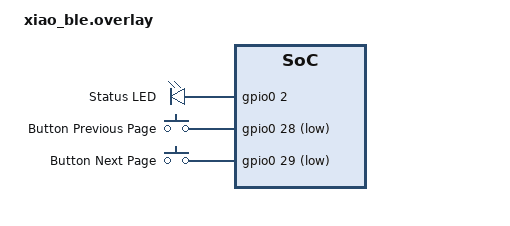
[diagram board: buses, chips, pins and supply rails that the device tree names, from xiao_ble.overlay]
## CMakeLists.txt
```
cmake_minimum_required(VERSION 3.20.0)

find_package(Zephyr REQUIRED HINTS $ENV{ZEPHYR_BASE})

project(trykkert)

FILE(GLOB app_sources src/*.c)
target_sources(app PRIVATE ${app_sources})

zephyr_library_include_directories(src)
```

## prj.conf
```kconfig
# Increased stack due to settings API usage
CONFIG_SYSTEM_WORKQUEUE_STACK_SIZE=2048

# Configure logger
CONFIG_LOG=n
CONFIG_LOG_BACKEND_UART=y
CONFIG_LOG_DEFAULT_LEVEL=3

CONFIG_ASSERT=y

CONFIG_GPIO=y

CONFIG_ADC=y

CONFIG_BT=y
CONFIG_BT_SMP=y
CONFIG_BT_SETTINGS=y
CONFIG_BT_PERIPHERAL=y
CONFIG_BT_DEVICE_NAME="trykkert"
CONFIG_BT_DEVICE_APPEARANCE=961
CONFIG_BT_DIS=y
# CONFIG_BT_BAS=y
CONFIG_BT_HIDS=y
CONFIG_BT_HIDS_DEFAULT_PERM_RW_ENCRYPT=y
CONFIG_BT_GATT_UUID16_POOL_SIZE=40
CONFIG_BT_GATT_CHRC_POOL_SIZE=20

CONFIG_BT_CONN_CTX=y
CONFIG_BT_MAX_CONN=2
CONFIG_BT_MAX_PAIRED=1

CONFIG_FLASH=y
CONFIG_FLASH_PAGE_LAYOUT=y
CONFIG_FLASH_MAP=y
CONFIG_NVS=y
CONFIG_SETTINGS=y
```

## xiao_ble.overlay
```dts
/ {
    aliases {
        led3 = &led3;
        sw0 = &button0;
        sw1 = &button1;
    };

    leds {
        led3: led_3 {
            label = "Status LED";
            gpios = <&gpio0 2 GPIO_ACTIVE_HIGH>;
        };
    };

    buttons {
        compatible = "gpio-keys";
        button0: button_0 {
            label = "Button Previous Page";
            gpios = <&gpio0 28 (GPIO_PULL_UP | GPIO_ACTIVE_LOW)>;
        };
        button1: button_1 {
            label = "Button Next Page";
            gpios = <&gpio0 29 (GPIO_PULL_UP | GPIO_ACTIVE_LOW)>;
        };
    };
};
```

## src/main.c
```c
#include <zephyr/kernel.h>
#include <zephyr/types.h>
#include <zephyr/bluetooth/bluetooth.h>
#include <zephyr/drivers/gpio.h>
#include <zephyr/settings/settings.h>

#include "battery.h"
#include "bas.h"
#include "hid.h"
#include "gpio.h"

#include <zephyr/logging/log.h>
#define LOG_MODULE_NAME app
LOG_MODULE_REGISTER(LOG_MODULE_NAME);


/* callbacks & services */
static struct k_work_delayable blink_work;
static struct k_work_delayable battery_update_work;

static float battery_voltage;
static int battery_percentage;
static int battery_charge_state;

static uint8_t btn_state = 0;

static void button_handler(uint8_t button_mask)
{
    int err;

    LOG_INF("Btn state: %x\n", button_mask);
    if (button_mask == btn_state) {
        return; // ignore if state is unchanged
    }
    btn_state = button_mask;

    if (button_mask & 0b100) {
        // long press detected
        bt_unpair(BT_ID_DEFAULT, BT_ADDR_LE_ANY);
        gpio_status_led_off();
        advertising_start();
    } else {
        if (is_advertising()) {
            return;
        }

        if (button_mask) {
            gpio_status_led_on();
        } else {
            gpio_status_led_off();
        }

        err = hid_key_changed(button_mask);
        if (err) {
            LOG_ERR("Unable to update keys (err: %d)\n", err);
        }
    }
}

static void connection_changed_handler(uint8_t state)
{
    if (state == 1) {
        gpio_status_led_off();
        k_work_cancel_delayable(&blink_work);
    } else {
        k_work_schedule(&blink_work, K_NO_WAIT);
    }
}

static void battery_update(struct k_work *work)
{
    int err;

    battery_get_voltage(&battery_voltage);
    battery_get_percentage(&battery_percentage, battery_voltage);
    bas_set_battery_level(battery_percentage);

    battery_get_charge_state(&battery_charge_state);
    bas_set_charge_status(battery_charge_state);

    // if (battery_charge_state == 0) {
    //     return; // break early if battery is not charging
    // }

    err = bas_notify();
    if (err) {
        LOG_ERR("bas_notify failed with rc = %d\n", err);
    }

    k_work_reschedule(&battery_update_work, K_SECONDS(10));
}

static void blink(struct k_work *work)
{
    if (is_advertising()) {
        gpio_status_led_toggle();
    } else {
        gpio_status_led_off();
    }
    k_work_schedule(&blink_work, K_MSEC(500));
}


/* main task */
int main(void)
{
    int err;

    k_sleep(K_MSEC(3000)); // boot cooldown

    LOG_INF("Starting Bluetooth Peripheral HIDS keyboard example\n");

    battery_init();

    err = gpio_init(button_handler);
    if (err) {
        LOG_ERR("Failed to initialize GPIO (err: %d)\n", err);
    }

    hid_init(connection_changed_handler);

    err = bt_enable(NULL);
    if (err) {
        LOG_ERR("Bluetooth init failed (err %d)\n", err);
        return 0;
    }

    LOG_INF("Bluetooth initialized\n");

    if (IS_ENABLED(CONFIG_SETTINGS)) {
        settings_load();
    }

    k_work_init_delayable(&battery_update_work, battery_update);
    k_work_schedule(&battery_update_work, K_NO_WAIT);

    k_work_init_delayable(&blink_work, blink);
    k_work_schedule(&blink_work, K_NO_WAIT);

    advertising_start();

    // idle loop
    for (;;) {
        k_sleep(K_FOREVER);
    }
}
```

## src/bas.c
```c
#include "bas.h"

#include <errno.h>
#include <zephyr/init.h>
#include <zephyr/sys/__assert.h>
#include <stdbool.h>
#include <zephyr/types.h>

#include <zephyr/bluetooth/bluetooth.h>
#include <zephyr/bluetooth/conn.h>
#include <zephyr/bluetooth/gatt.h>
#include <zephyr/bluetooth/uuid.h>

#define LOG_LEVEL CONFIG_BT_BAS_LOG_LEVEL
#include <zephyr/logging/log.h>
LOG_MODULE_REGISTER(bas);

static uint8_t battery_level = 100U;

static struct __packed battery_level_status {
    uint16_t power_state;
    uint8_t flags;
} battery_level_status;

static void blvl_ccc_cfg_changed(const struct bt_gatt_attr *attr, uint16_t value)
{
    ARG_UNUSED(attr);
    LOG_INF("BAS Notifications %s", (value == BT_GATT_CCC_NOTIFY) ? "enabled" : "disabled");
}

static ssize_t read_blvl(struct bt_conn *conn, const struct bt_gatt_attr *attr, void *buf, uint16_t len, uint16_t offset)
{
    uint8_t lvl8 = battery_level;
    return bt_gatt_attr_read(conn, attr, buf, len, offset, &lvl8, sizeof(lvl8));
}

static void blvl_status_ccc_cfg_changed(const struct bt_gatt_attr *attr, uint16_t value)
{
    ARG_UNUSED(attr);
    LOG_INF("BAS Notifications %s", (value == BT_GATT_CCC_NOTIFY) ? "enabled" : "disabled");
}

static ssize_t read_blvl_status(struct bt_conn *conn, const struct bt_gatt_attr *attr, void *buf, uint16_t len, uint16_t offset)
{
    struct __packed battery_level_status status = {
        .flags = battery_level_status.flags,
        .power_state = battery_level_status.power_state,
    };
    return bt_gatt_attr_read(conn, attr, buf, len, offset, &status, sizeof(status));
}

BT_GATT_SERVICE_DEFINE(bas_extended,
    BT_GATT_PRIMARY_SERVICE(
        BT_UUID_BAS
    ),

    BT_GATT_CHARACTERISTIC(
        BT_UUID_BAS_BATTERY_LEVEL,
        BT_GATT_CHRC_READ | BT_GATT_CHRC_NOTIFY,
        BT_GATT_PERM_READ,
        read_blvl, NULL, &battery_level
    ),
    BT_GATT_CCC(
        blvl_ccc_cfg_changed,
        BT_GATT_PERM_READ | BT_GATT_PERM_WRITE
    ),

    BT_GATT_CHARACTERISTIC(
        BT_UUID_BAS_BATTERY_LEVEL_STATUS,
        BT_GATT_CHRC_READ | BT_GATT_CHRC_NOTIFY,
        BT_GATT_PERM_READ_ENCRYPT,
        read_blvl_status, NULL, &battery_level_status
    ),
    BT_GATT_CCC(
        blvl_status_ccc_cfg_changed,
        BT_GATT_PERM_READ | BT_GATT_PERM_WRITE
    ),
);

static int bas_init(void)
{
    battery_level_status.flags = 0; // always 0
    battery_level_status.power_state = 0;
    battery_level_status.power_state |= (1U << 0); // battery assumed always present
    battery_level_status.power_state |= (2U << 1); // wired power source: unknown
    battery_level_status.power_state |= (0U << 3); // wireless power source: never
    battery_level_status.power_state |= (3U << 5); // battery charge state: inactive
    battery_level_status.power_state |= (0U << 7); // battery charge level: unknown
    return 0;
}

uint8_t bas_get_battery_level(void)
{
    return battery_level;
}

void bas_set_battery_level(uint8_t level)
{
    battery_level = level;
}

void bas_set_charge_status(int status)
{
    uint16_t power_state;

    power_state = 0;
    power_state |= (1U << 0); // battery assumed always present

    if ( status ) {
        power_state |= (1U << 1); // wired power source: connected
        power_state |= (1U << 5); // battery charge state: charging
        if (battery_level < 10) {
            power_state |= (3U << 7); // battery charge level: critical
        } else if (battery_level < 20) {
            power_state |= (2U << 7); // battery charge level: low
        } else {
            power_state |= (1U << 7); // battery charge level: good
        }
        power_state |= (1U << 9); // battery charge type: constant current
    } else {
        power_state |= (2U << 1); // wired power source: unknown
        power_state |= (2U << 5); // battery charge state: active discharge
        power_state |= (0U << 7); // battery charge level: not charging
        power_state |= (0U << 9); // battery charge type: not charging
    }

    battery_level_status.flags = 0;
    battery_level_status.power_state = power_state;
}

int bas_notify(void)
{
    int rc = 0;

    if (battery_level > 100U) {
        return -EINVAL;
    }

    // notify battery level
    rc |= bt_gatt_notify(
        NULL, bt_gatt_find_by_uuid(bas_extended.attrs, 0, BT_UUID_BAS_BATTERY_LEVEL),
        &battery_level, sizeof(battery_level)
    );

    // notify battery status (not working... not implemented on iOS???)
    rc |= bt_gatt_notify(
        NULL, bt_gatt_find_by_uuid(bas_extended.attrs, 0, BT_UUID_BAS_BATTERY_LEVEL_STATUS),
        &battery_level_status, sizeof(battery_level_status)
    );

    return rc == -ENOTCONN ? 0 : rc;
}

SYS_INIT(bas_init, APPLICATION, CONFIG_APPLICATION_INIT_PRIORITY);
```

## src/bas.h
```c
#pragma once

#include <stdint.h>

uint8_t bas_get_battery_level(void);
void bas_set_battery_level(uint8_t level);
void bas_set_charge_status(int status);
int bas_notify(void);
```

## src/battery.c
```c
#include "battery.h"

#include <zephyr/kernel.h>
#include <zephyr/device.h>
#include <zephyr/devicetree.h>
#include <zephyr/drivers/gpio.h>
#include <zephyr/drivers/adc.h>

#include <zephyr/logging/log.h>
#define LOG_MODULE_NAME battery
LOG_MODULE_REGISTER(LOG_MODULE_NAME);

static const struct device *gpio_battery_dev = DEVICE_DT_GET(DT_NODELABEL(gpio0));
static const struct device *adc_battery_dev = DEVICE_DT_GET(DT_NODELABEL(adc));

#define GPIO_BATTERY_CHARGE_SPEED 13
#define GPIO_BATTERY_CHARGING_ENABLE 17
#define GPIO_BATTERY_READ_ENABLE 14

#define ADC_TOTAL_SAMPLES 10
int16_t sample_buffer[ADC_TOTAL_SAMPLES];

#define ADC_RESOLUTION 12
#define ADC_CHANNEL 7
#define ADC_PORT SAADC_CH_PSELP_PSELP_AnalogInput7 // AIN7
#define ADC_REFERENCE ADC_REF_INTERNAL             // 0.6V
#define ADC_GAIN ADC_GAIN_1_6                      // ADC REFERENCE * 6 = 3.6V

struct adc_channel_cfg channel_7_cfg = {
    .gain = ADC_GAIN,
    .reference = ADC_REFERENCE,
    .acquisition_time = ADC_ACQ_TIME_DEFAULT,
    .channel_id = ADC_CHANNEL,
#ifdef CONFIG_ADC_NRFX_SAADC
    .input_positive = ADC_PORT
#endif
};

static struct adc_sequence_options options = {
    .extra_samplings = ADC_TOTAL_SAMPLES - 1,
    .interval_us = 500, // Interval between each sample
};

struct adc_sequence sequence = {
    .options = &options,
    .channels = BIT(ADC_CHANNEL),
    .buffer = sample_buffer,
    .buffer_size = sizeof(sample_buffer),
    .resolution = ADC_RESOLUTION};

typedef struct
{
    float voltage;
    int percentage;
} BatteryState;

#define BATTERY_STATES_COUNT 12
BatteryState battery_states[BATTERY_STATES_COUNT] = {
    {4.20, 100},
    {4.16, 99},
    {4.09, 91},
    {4.03, 78},
    {3.89, 63},
    {3.83, 53},
    {3.68, 36},
    {3.66, 35},
    {3.48, 14},
    {3.42, 11},
    {3.15, 1}, // .24
    {0.00, 0}  // Below safe level
};

static uint8_t is_initialized = false;

static int battery_enable_read()
{
    return gpio_pin_set(gpio_battery_dev, GPIO_BATTERY_READ_ENABLE, 1);
}

int battery_set_fast_charge()
{
    if (!is_initialized)
    {
        return -ECANCELED;
    }

    return gpio_pin_set(gpio_battery_dev, GPIO_BATTERY_CHARGE_SPEED, 1); // FAST charge 100mA
}

int battery_set_slow_charge()
{
    if (!is_initialized)
    {
        return -ECANCELED;
    }

    return gpio_pin_set(gpio_battery_dev, GPIO_BATTERY_CHARGE_SPEED, 0); // SLOW charge 50mA
}

int battery_get_voltage(float *battery_volt)
{

    int ret = 0;

    // Voltage divider circuit
    const int R1 = 1037; // Originally 1M ohm, calibrated after measuring actual voltage values. Can happen due to resistor tolerances, temperature ect..
    const int R2 = 510;  // 510K ohm

    // ADC measure
    int32_t adc_vref = adc_ref_internal(adc_battery_dev);
    int battery_millivolt = 0;
    int adc_mv = 0;

    ret |= adc_read(adc_battery_dev, &sequence);
    if (ret)
    {
        LOG_WRN("ADC read failed (error %d)", ret);
    }

    // Get average sample value.
    for (int sample = 0; sample < ADC_TOTAL_SAMPLES; sample++)
    {
        adc_mv += sample_buffer[sample]; // ADC value, not millivolt yet.
    }
    adc_mv /= ADC_TOTAL_SAMPLES;

    // Convert sample value to millivolts
    ret |= adc_raw_to_millivolts(adc_vref, ADC_GAIN, ADC_RESOLUTION, &adc_mv);

    // Calculate battery voltage.
    battery_millivolt = adc_mv * ((R1 + R2) / R2);
    *battery_volt = (float)battery_millivolt / 1000.0; // From millivolt to volt.

    LOG_INF("%d mV", battery_millivolt);
    return ret;
}

int battery_get_percentage(int *battery_percentage, float battery_voltage)
{
    // Ensure voltage is within bounds
    if (battery_voltage > battery_states[0].voltage)
        *battery_percentage = 100;
    if (battery_voltage < battery_states[BATTERY_STATES_COUNT - 1].voltage)
        *battery_percentage = 0;

    for (int i = 0; i < BATTERY_STATES_COUNT - 1; i++)
    {
        // Find the two points battery_voltage is between
        if (battery_states[i].voltage >= battery_voltage && battery_voltage >= battery_states[i + 1].voltage)
        {
            // Linear interpolation
            *battery_percentage = battery_states[i].percentage + (
                (battery_voltage - battery_states[i].voltage) * (
                    (battery_states[i + 1].percentage - battery_states[i].percentage) / (
                        battery_states[i + 1].voltage - battery_states[i].voltage
                    )
                )
            );

            LOG_INF("%d %%", *battery_percentage);
            return 0;
        }
    }
    return -ESPIPE;
}

int battery_get_charge_state(int *charge_state)
{
    *charge_state = gpio_pin_get(gpio_battery_dev, GPIO_BATTERY_CHARGING_ENABLE);
    return 0;
}

int battery_init()
{
    int ret = 0;

    // ADC
    if (!device_is_ready(adc_battery_dev))
    {
        LOG_ERR("ADC device not found!");
        return -EIO;
    }

    ret |= adc_channel_setup(adc_battery_dev, &channel_7_cfg);

    if (ret)
    {
        LOG_ERR("ADC setup failed (error %d)", ret);
    }

    // GPIO
    if (!device_is_ready(gpio_battery_dev))
    {
        LOG_ERR("GPIO device not found!");
        return -EIO;
    }

    ret |= gpio_pin_configure(gpio_battery_dev, GPIO_BATTERY_CHARGING_ENABLE, GPIO_INPUT | GPIO_ACTIVE_LOW);
    ret |= gpio_pin_configure(gpio_battery_dev, GPIO_BATTERY_READ_ENABLE, GPIO_OUTPUT | GPIO_ACTIVE_LOW);
    ret |= gpio_pin_configure(gpio_battery_dev, GPIO_BATTERY_CHARGE_SPEED, GPIO_OUTPUT | GPIO_ACTIVE_LOW);

    if (ret)
    {
        LOG_ERR("GPIO configure failed123!");
        return ret;
    }

    if (ret)
    {
        LOG_ERR("Initialization failed (error %d)", ret);
        return ret;
    }

    is_initialized = true;
    LOG_INF("Initialized");

    ret |= battery_enable_read();
    ret |= battery_set_fast_charge();

    return ret;
}
```

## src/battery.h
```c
#pragma once

/**
 * @brief Set battery charging to fast charge (100mA).
 *
 * @retval 0 if successful. Negative errno number on error.
 */
int battery_set_fast_charge(void);

/**
 * @brief Set battery charging to slow charge (50mA).
 *
 * @retval 0 if successful. Negative errno number on error.
 */
int battery_set_slow_charge(void);

/**
 * @brief Calculates the battery voltage using the ADC.
 *
 * @param[in] battery_volt Pointer where battery voltage is stored.
 *
 * @retval 0 if successful. Negative errno number on error.
 */
int battery_get_voltage(float *battery_volt);

/**
 * @brief Calculates the battery percentage using the battery voltage.
 *
 * @param[in] battery_percentage  Pointer where battery percentage is stored.
 *
 * @param[in] battery_volt Voltage used to calculate the percentage of how much energy is left in a 3.7V LiPo battery.
 *
 * @retval 0 if successful. Negative errno number on error.
 */
int battery_get_percentage(int *battery_percentage, float battery_volt);

/**
 * @brief Gets the current charging state
 *
 * @param[in] charge_state  Pointer where battery charge state is stored.
 *
 * @retval 0 if successful. Negative errno number on error.
 */
int battery_get_charge_state(int *charge_state);

/**
 * @brief Initialize the battery charging circuit.
 *
 * @retval 0 if successful. Negative errno number on error.
 */
int battery_init(void);
```

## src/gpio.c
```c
#include "gpio.h"

#include <zephyr/kernel.h>
#include <zephyr/drivers/gpio.h>

#include <zephyr/logging/log.h>
#define LOG_MODULE_NAME gpio
LOG_MODULE_REGISTER(LOG_MODULE_NAME);


// XIAO built-in RGB LED(s)
// #define LED0_NODE DT_ALIAS(led0)
// static const struct gpio_dt_spec led0 = GPIO_DT_SPEC_GET(LED0_NODE, gpios);

// #define LED1_NODE DT_ALIAS(led1)
// static const struct gpio_dt_spec led1 = GPIO_DT_SPEC_GET(LED1_NODE, gpios);

// #define LED2_NODE DT_ALIAS(led2)
// static const struct gpio_dt_spec led2 = GPIO_DT_SPEC_GET(LED2_NODE, gpios);

// external status LED
#define LED3_NODE DT_ALIAS(led3)
static const struct gpio_dt_spec led3 = GPIO_DT_SPEC_GET(LED3_NODE, gpios);

// buttons
#define SW0_NODE DT_ALIAS(sw0)
static const struct gpio_dt_spec sw0 = GPIO_DT_SPEC_GET(SW0_NODE, gpios);

#define SW1_NODE DT_ALIAS(sw1)
static const struct gpio_dt_spec sw1 = GPIO_DT_SPEC_GET(SW1_NODE, gpios);

static struct gpio_callback sw0_cb_data;
static struct gpio_callback sw1_cb_data;

static button_event_handler_t button_cb;

static struct k_work_delayable debounce_work;
static struct k_work_delayable longpress_work;


static void debounce_expired(struct k_work *work)
{
    ARG_UNUSED(work);

    uint8_t btn_mask = 0;
    
    if (gpio_pin_get_dt(&sw0)) {
        btn_mask |= 0b001;
    }
    if (gpio_pin_get_dt(&sw1)) {
        btn_mask |= 0b010;
    }

    if (btn_mask == 0b011) {
        k_work_reschedule(&longpress_work, K_MSEC(GPIO_SW_LONGPRESS_MS));
    }

    if (button_cb) {
        button_cb(btn_mask);
    }
}

static void longpress_expired(struct k_work *work)
{
    ARG_UNUSED(work);

    uint8_t btn_mask = 0;
    
    if (gpio_pin_get_dt(&sw0) && gpio_pin_get_dt(&sw1)) {
        btn_mask |= 0b111;

        if (button_cb) {
            button_cb(btn_mask);
        }
    }
}


void button_pressed(const struct device *dev, struct gpio_callback *cb, uint32_t pins)
{
    k_work_reschedule(&debounce_work, K_MSEC(GPIO_SW_DEBOUNCE_MS));
}


int gpio_init(button_event_handler_t handler)
{
    int err = -1;

    // init callback handler
    if (!handler) {
        return -EINVAL;
    }
    button_cb = handler;

    // check GPIO pins
    if (!device_is_ready(led3.port)) {
        return -EIO;
    }
    if (!device_is_ready(sw0.port)) {
        return -EIO;
    }
    if (!device_is_ready(sw1.port)) {
        return -EIO;
    }

    // init GPIO
    err = gpio_pin_configure_dt(&led3, GPIO_OUTPUT_INACTIVE);
    if (err) {
        return err;
    }
    err = gpio_pin_configure_dt(&sw0, GPIO_INPUT);
    if (err) {
        return err;
    }
    err = gpio_pin_configure_dt(&sw1, GPIO_INPUT);
    if (err) {
        return err;
    }

    // define work items
    k_work_init_delayable(&debounce_work, debounce_expired);
    k_work_init_delayable(&longpress_work, longpress_expired);

    // init interrupts
    err = gpio_pin_interrupt_configure_dt(&sw0, GPIO_INT_EDGE_BOTH);
    if (err) {
        return err;
    }
    err = gpio_pin_interrupt_configure_dt(&sw1, GPIO_INT_EDGE_BOTH);
    if (err) {
        return err;
    }

    gpio_init_callback(&sw0_cb_data, button_pressed, BIT(sw0.pin));
    gpio_init_callback(&sw1_cb_data, button_pressed, BIT(sw1.pin));

    err = gpio_add_callback(sw0.port, &sw0_cb_data);
    if (err) {
        return err;
    }
    err = gpio_add_callback(sw1.port, &sw1_cb_data);
    if (err) {
        return err;
    }

    // done
    LOG_INF("Initialized GPIO\n");
    return 0;
}


int gpio_status_led_on(void)
{
    return gpio_pin_set_dt(&led3, 1);
}


int gpio_status_led_off(void)
{
    return gpio_pin_set_dt(&led3, 0);
}


int gpio_status_led_toggle(void)
{
    return gpio_pin_toggle_dt(&led3);
}
```

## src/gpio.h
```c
#pragma once

#include <zephyr/types.h>

#define GPIO_SW_DEBOUNCE_MS 30
#define GPIO_SW_LONGPRESS_MS 5000

typedef void (*button_event_handler_t)(uint8_t button_mask);

int gpio_init(button_event_handler_t handler);
int gpio_status_led_on(void);
int gpio_status_led_off(void);
int gpio_status_led_toggle(void);
```

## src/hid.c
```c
#include "hid.h"

#include <zephyr/kernel.h>
#include <zephyr/spinlock.h>
#include <zephyr/sys/byteorder.h>
#include <zephyr/bluetooth/bluetooth.h>
#include <zephyr/bluetooth/hci.h>
#include <zephyr/bluetooth/conn.h>
#include <zephyr/bluetooth/uuid.h>
#include <zephyr/bluetooth/gatt.h>
#include <zephyr/bluetooth/services/dis.h>
#include <bluetooth/services/hids.h>

#include <soc.h>
#include <stddef.h>
#include <string.h>
#include <errno.h>

#include <zephyr/logging/log.h>
#define LOG_MODULE_NAME hid
LOG_MODULE_REGISTER(LOG_MODULE_NAME);


/* HIDS instance. */
BT_HIDS_DEF(
    hids_obj,
    OUTPUT_REPORT_MAX_LEN,
    INPUT_REPORT_KEYS_MAX_LEN
);

static volatile bool is_adv;

static hid_connection_changed_t connection_changed_cb;

static const struct bt_data ad[] = {
    BT_DATA_BYTES(
        BT_DATA_GAP_APPEARANCE,
        (CONFIG_BT_DEVICE_APPEARANCE >> 0) & 0xff,
        (CONFIG_BT_DEVICE_APPEARANCE >> 8) & 0xff
    ),
    BT_DATA_BYTES(
        BT_DATA_FLAGS,
        (BT_LE_AD_GENERAL | BT_LE_AD_NO_BREDR)
    ),
    BT_DATA_BYTES(
        BT_DATA_UUID16_ALL,
        BT_UUID_16_ENCODE(BT_UUID_HIDS_VAL),
        BT_UUID_16_ENCODE(BT_UUID_BAS_VAL)
    ),
};

static const struct bt_data sd[] = {
    BT_DATA(BT_DATA_NAME_COMPLETE, DEVICE_NAME, DEVICE_NAME_LEN),
};

static struct conn_mode {
    struct bt_conn *conn;
    bool in_boot_mode;
} conn_mode;

static struct keyboard_state {
    uint8_t ctrl_keys_state;
    uint8_t keys_state[KEY_PRESS_MAX];
    uint8_t charging;
} hid_keyboard_state;


void advertising_start(void)
{
    int err;
    struct bt_le_adv_param *adv_param = BT_LE_ADV_PARAM(
        (BT_LE_ADV_OPT_CONNECTABLE | BT_LE_ADV_OPT_ONE_TIME),
        BT_GAP_ADV_FAST_INT_MIN_2,
        BT_GAP_ADV_FAST_INT_MAX_2,
        NULL
    );

    err = bt_le_adv_start(adv_param, ad, ARRAY_SIZE(ad), sd, ARRAY_SIZE(sd));
    if (err) {
        if (err == -EALREADY) {
            LOG_WRN("Advertising continued\n");
        } else {
            LOG_ERR("Advertising failed to start (err %d)\n", err);
        }
        return;
    }
    is_adv = true;
    LOG_INF("Advertising successfully started\n");
}


bool is_advertising(void)
{
    return is_adv;
}


static void connected(struct bt_conn *conn, uint8_t err)
{
    char addr[BT_ADDR_LE_STR_LEN];
    bt_addr_le_to_str(bt_conn_get_dst(conn), addr, sizeof(addr));

    if (err) {
        LOG_ERR("Failed to connect to %s (%u)\n", addr, err);
        if (connection_changed_cb) {
            connection_changed_cb(0);
        }
        return;
    }

    LOG_INF("Connected %s\n", addr);

    err = bt_hids_connected(&hids_obj, conn);

    if (err) {
        LOG_ERR("Failed to notify HID service about connection\n");
        if (connection_changed_cb) {
            connection_changed_cb(0);
        }
        return;
    }

    if (!conn_mode.conn) {
        conn_mode.conn = conn;
        conn_mode.in_boot_mode = false;
    }

    is_adv = false;
    if (connection_changed_cb) {
        connection_changed_cb(1);
    }
}


static void disconnected(struct bt_conn *conn, uint8_t reason)
{
    int err;

    char addr[BT_ADDR_LE_STR_LEN];
    bt_addr_le_to_str(bt_conn_get_dst(conn), addr, sizeof(addr));

    LOG_INF("Disconnected from %s (reason %u)\n", addr, reason);

    err = bt_hids_disconnected(&hids_obj, conn);
    if (err) {
        LOG_ERR("Failed to notify HID service about disconnection\n");
        if (connection_changed_cb) {
            connection_changed_cb(0);
        }
    }

    if (conn_mode.conn) {
        conn_mode.conn = NULL;
    }

    advertising_start();
    if (connection_changed_cb) {
        connection_changed_cb(0);
    }
}


static void security_changed(struct bt_conn *conn, bt_security_t level, enum bt_security_err err)
{
    char addr[BT_ADDR_LE_STR_LEN];
    bt_addr_le_to_str(bt_conn_get_dst(conn), addr, sizeof(addr));

    if (!err) {
        LOG_INF("Security changed: %s level %u\n", addr, level);
    } else {
        LOG_ERR("Security failed: %s level %u err %d\n", addr, level, err);
    }
}


BT_CONN_CB_DEFINE(conn_callbacks) = {
    .connected = connected,
    .disconnected = disconnected,
    .security_changed = security_changed,
};


static void hids_outp_rep_handler(struct bt_hids_rep *rep, struct bt_conn *conn, bool write)
{
    char addr[BT_ADDR_LE_STR_LEN];
    bt_addr_le_to_str(bt_conn_get_dst(conn), addr, sizeof(addr));

    if (!write) {
        LOG_INF("Output report read\n");
        return;
    };

    LOG_INF("Output report has been received %s\n", addr);
}


static void hids_boot_kb_outp_rep_handler(struct bt_hids_rep *rep, struct bt_conn *conn, bool write)
{
    char addr[BT_ADDR_LE_STR_LEN];
    bt_addr_le_to_str(bt_conn_get_dst(conn), addr, sizeof(addr));

    if (!write) {
        LOG_INF("Output report read\n");
        return;
    };

    LOG_INF("Boot Keyboard Output report has been received %s\n", addr);
}


static void hids_pm_evt_handler(enum bt_hids_pm_evt evt, struct bt_conn *conn)
{
    char addr[BT_ADDR_LE_STR_LEN];
    bt_addr_le_to_str(bt_conn_get_dst(conn), addr, sizeof(addr));

    switch (evt) {
    case BT_HIDS_PM_EVT_BOOT_MODE_ENTERED:
        LOG_INF("Boot mode entered %s\n", addr);
        conn_mode.in_boot_mode = true;
        break;

    case BT_HIDS_PM_EVT_REPORT_MODE_ENTERED:
        LOG_INF("Report mode entered %s\n", addr);
        conn_mode.in_boot_mode = false;
        break;

    default:
        break;
    }
}


void hid_init(hid_connection_changed_t cb)
{
    int err;

    connection_changed_cb = cb;

    struct bt_hids_init_param    hids_init_obj = { 0 };
    struct bt_hids_inp_rep       *hids_inp_rep;
    struct bt_hids_outp_feat_rep *hids_outp_rep;

    static const uint8_t report_map[] = {
        0x05, 0x01,       /* Usage Page (Generic Desktop) */
        0x09, 0x06,       /* Usage (Keyboard) */
        0xa1, 0x01,       /* Collection (Application) */

        /* Keys */
#if INPUT_REP_KEYS_REF_ID
        0x85, INPUT_REP_KEYS_REF_ID,
#endif
        0x05, 0x07,       /* Usage Page (Key Codes) */
        0x19, 0xe0,       /* Usage Minimum (224) */
        0x29, 0xe7,       /* Usage Maximum (231) */
        0x15, 0x00,       /* Logical Minimum (0) */
        0x25, 0x01,       /* Logical Maximum (1) */
        0x75, 0x01,       /* Report Size (1) */
        0x95, 0x08,       /* Report Count (8) */
        0x81, 0x02,       /* Input (Data, Variable, Absolute) */

        0x95, 0x01,       /* Report Count (1) */
        0x75, 0x08,       /* Report Size (8) */
        0x81, 0x01,       /* Input (Constant) reserved byte(1) */

        0x95, 0x06,       /* Report Count (6) */
        0x75, 0x08,       /* Report Size (8) */
        0x15, 0x00,       /* Logical Minimum (0) */
        0x25, 0x65,       /* Logical Maximum (101) */
        0x05, 0x07,       /* Usage Page (Key codes) */
        0x19, 0x00,       /* Usage Minimum (0) */
        0x29, 0x65,       /* Usage Maximum (101) */
        0x81, 0x00,       /* Input (Data, Array) Key array(6 bytes) */

        /* LED */
#if OUTPUT_REP_KEYS_REF_ID
        0x85, OUTPUT_REP_KEYS_REF_ID,
#endif
        0x95, 0x05,       /* Report Count (5) */
        0x75, 0x01,       /* Report Size (1) */
        0x05, 0x08,       /* Usage Page (Page# for LEDs) */
        0x19, 0x01,       /* Usage Minimum (1) */
        0x29, 0x05,       /* Usage Maximum (5) */
        0x91, 0x02,       /* Output (Data, Variable, Absolute), */
        0x95, 0x01,       /* Report Count (1) */
        0x75, 0x03,       /* Report Size (3) */
        0x91, 0x01,       /* Output (Data, Variable, Absolute), */

        0xC0              /* End Collection (Application) */
    };

    // // ! test
    // 0x05, 0x85,       /* Usage Page (Battery System) */
    // 0x09, 0x44,       /* Usage (Charging) */
    // 0x95, 0x01,       /* Report Count (1) */
    // 0x75, 0x07,       /* Report Size (7) */
    // 0x81, 0x01,       /* Feature (Cnst,Var,Abs) - padding */
    // 0x19, 0x00,       /* Usage Minimum (0) */
    // 0x29, 0x01,       /* Usage Maximum (1) */
    // 0x15, 0x00,       /* Logical Minimum (0) */
    // 0x25, 0x01,       /* Logical Maximum (1) */
    // 0x95, 0x01,       /* Report Count (1) */
    // 0x75, 0x01,       /* Report Size (1) */
    // 0x81, 0x02,       /* Input (Data, Variable, Absolute) */

    hids_init_obj.rep_map.data = report_map;
    hids_init_obj.rep_map.size = sizeof(report_map);

    hids_init_obj.info.bcd_hid = BASE_USB_HID_SPEC_VERSION;
    hids_init_obj.info.b_country_code = 0x00;
    hids_init_obj.info.flags = (BT_HIDS_REMOTE_WAKE | BT_HIDS_NORMALLY_CONNECTABLE);

    hids_inp_rep = &hids_init_obj.inp_rep_group_init.reports[INPUT_REP_KEYS_IDX];
    hids_inp_rep->size = INPUT_REPORT_KEYS_MAX_LEN;
    hids_inp_rep->id = INPUT_REP_KEYS_REF_ID;
    hids_init_obj.inp_rep_group_init.cnt++;

    hids_outp_rep = &hids_init_obj.outp_rep_group_init.reports[OUTPUT_REP_KEYS_IDX];
    hids_outp_rep->size = OUTPUT_REPORT_MAX_LEN;
    hids_outp_rep->id = OUTPUT_REP_KEYS_REF_ID;
    hids_outp_rep->handler = hids_outp_rep_handler;
    hids_init_obj.outp_rep_group_init.cnt++;

    hids_init_obj.is_kb = true;
    hids_init_obj.boot_kb_outp_rep_handler = hids_boot_kb_outp_rep_handler;
    hids_init_obj.pm_evt_handler = hids_pm_evt_handler;

    err = bt_hids_init(&hids_obj, &hids_init_obj);
    __ASSERT(err == 0, "HIDS initialization failed\n");
}


static int key_report_con_send(const struct keyboard_state *state, bool boot_mode, struct bt_conn *conn)
{
    int err = 0;
    uint8_t  data[INPUT_REPORT_KEYS_MAX_LEN];
    uint8_t *key_data;
    const uint8_t *key_state;
    size_t n;

    data[0] = state->ctrl_keys_state;
    data[1] = 0;
    key_data = &data[2];
    key_state = state->keys_state;

    for (n = 0; n < KEY_PRESS_MAX; ++n) {
        *key_data++ = *key_state++;
    }
    if (boot_mode) {
        err = bt_hids_boot_kb_inp_rep_send(&hids_obj, conn, data, sizeof(data), NULL);
    } else {
        err = bt_hids_inp_rep_send(&hids_obj, conn, INPUT_REP_KEYS_IDX, data, sizeof(data), NULL);
    }

    return err;
}


static int key_report_send(void)
{
    if (conn_mode.conn) {
        int err;

        err = key_report_con_send(&hid_keyboard_state, conn_mode.in_boot_mode, conn_mode.conn);
        if (err) {
            LOG_ERR("Key report send error: %d\n", err);
            return err;
        }
    }
    return 0;
}


static uint8_t button_ctrl_code(uint8_t key)
{
    if (KEY_CTRL_CODE_MIN <= key && key <= KEY_CTRL_CODE_MAX) {
        return (uint8_t)(1U << (key - KEY_CTRL_CODE_MIN));
    }
    return 0;
}


static int hid_kbd_state_key_set(uint8_t key)
{
    uint8_t ctrl_mask = button_ctrl_code(key);

    if (ctrl_mask) {
        hid_keyboard_state.ctrl_keys_state |= ctrl_mask;
        return 0;
    }
    for (size_t i = 0; i < KEY_PRESS_MAX; ++i) {
        if (hid_keyboard_state.keys_state[i] == 0) {
            hid_keyboard_state.keys_state[i] = key;
            return 0;
        }
    }
    /* All slots busy */
    return -EBUSY;
}


static int hid_kbd_state_key_clear(uint8_t key)
{
    uint8_t ctrl_mask = button_ctrl_code(key);

    if (ctrl_mask) {
        hid_keyboard_state.ctrl_keys_state &= ~ctrl_mask;
        return 0;
    }
    for (size_t i = 0; i < KEY_PRESS_MAX; ++i) {
        if (hid_keyboard_state.keys_state[i] == key) {
            hid_keyboard_state.keys_state[i] = 0;
            return 0;
        }
    }
    /* Key not found */
    return -EINVAL;
}


int hid_key_changed(uint8_t button_mask)
{
    if (button_mask & (uint8_t)(1U << 0)) {
        hid_kbd_state_key_set(KEY_CODE_SW0);
    } else {
        hid_kbd_state_key_clear(KEY_CODE_SW0);
    }

    if (button_mask & (uint8_t)(1U << 1)) {
        hid_kbd_state_key_set(KEY_CODE_SW1);
    } else {
        hid_kbd_state_key_clear(KEY_CODE_SW1);
    }

    return key_report_send();
}


int hid_charging_changed(uint8_t charging)
{
    if (charging) {
        hid_keyboard_state.charging = 0xff;
    } else {
        hid_keyboard_state.charging = 0;
    }

    return key_report_send();
}
```

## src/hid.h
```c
#pragma once

#include <zephyr/types.h>

#include <assert.h>


#define DEVICE_NAME     CONFIG_BT_DEVICE_NAME
#define DEVICE_NAME_LEN (sizeof(DEVICE_NAME) - 1)

#define BASE_USB_HID_SPEC_VERSION 0x0101

#define OUTPUT_REPORT_MAX_LEN  1
#define INPUT_REP_KEYS_REF_ID  0
#define OUTPUT_REP_KEYS_REF_ID 0
#define MODIFIER_KEY_POS       0
#define SCAN_CODE_POS          2
#define KEYS_MAX_LEN           (INPUT_REPORT_KEYS_MAX_LEN - SCAN_CODE_POS)

/* ********************* */
/* Buttons configuration */
/* Note: The configuration below is the same as BOOT mode configuration
 * This simplifies the code as the BOOT mode is the same as REPORT mode.
 * Changing this configuration would require separate implementation of
 * BOOT mode report generation.
 */
#define KEY_CTRL_CODE_MIN 224 // Control key codes - required 8 of them
#define KEY_CTRL_CODE_MAX 231 // Control key codes - required 8 of them
#define KEY_CODE_MIN      0   // Normal key codes
#define KEY_CODE_MAX      101 // Normal key codes
#define KEY_PRESS_MAX     6   // Maximum number of non-control keys pressed simultaneously

#define KEY_A        0x04 // Keyboard a and A
#define KEY_B        0x05 // Keyboard b and B
#define KEY_PAGEUP   0x4b // Keyboard Page Up
#define KEY_PAGEDOWN 0x4e // Keyboard Page Down
#define KEY_RIGHT    0x4f // Keyboard Right Arrow
#define KEY_LEFT     0x50 // Keyboard Left Arrow
#define KEY_DOWN     0x51 // Keyboard Down Arrow
#define KEY_UP       0x52 // Keyboard Up Arrow

#define KEY_CODE_SW0 KEY_LEFT
#define KEY_CODE_SW1 KEY_RIGHT

/* Number of bytes in key report
 *
 * 1B - control keys
 * 1B - reserved
 * rest - non-control keys
 */
#define INPUT_REPORT_KEYS_MAX_LEN (1 + 1 + KEY_PRESS_MAX)

/* Current report map construction requires exactly 8 buttons */
BUILD_ASSERT((KEY_CTRL_CODE_MAX - KEY_CTRL_CODE_MIN) + 1 == 8);

/* OUT report internal indexes.
 *
 * This is a position in internal report table and is not related to
 * report ID.
 */
enum {
    OUTPUT_REP_KEYS_IDX = 0
};

/* INPUT report internal indexes.
 *
 * This is a position in internal report table and is not related to
 * report ID.
 */
enum {
    INPUT_REP_KEYS_IDX = 0
};

typedef void (*hid_connection_changed_t)(uint8_t state);

void hid_init(hid_connection_changed_t cb);
int hid_key_changed(uint8_t button_mask);
int hid_charging_changed(uint8_t charging);

void advertising_start(void);
bool is_advertising();
```

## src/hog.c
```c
#include "hog.h"

#include <zephyr/kernel.h>
#include <zephyr/spinlock.h>
#include <zephyr/sys/byteorder.h>
#include <zephyr/bluetooth/bluetooth.h>
#include <zephyr/bluetooth/hci.h>
#include <zephyr/bluetooth/conn.h>
#include <zephyr/bluetooth/uuid.h>
#include <zephyr/bluetooth/gatt.h>
#include <zephyr/bluetooth/services/bas.h>
#include <zephyr/bluetooth/services/dis.h>
#include <bluetooth/services/hids.h>

#include <soc.h>
#include <stddef.h>
#include <string.h>
#include <errno.h>

#include <zephyr/logging/log.h>
#define LOG_MODULE_NAME hog
LOG_MODULE_REGISTER(LOG_MODULE_NAME);


/* HIDS instance. */
BT_HIDS_DEF(
    hids_obj,
    OUTPUT_REPORT_MAX_LEN,
    INPUT_REPORT_KEYS_MAX_LEN
);

static volatile bool is_adv;

static hid_connection_changed_t connection_changed_cb;

static const struct bt_data ad[] = {
    BT_DATA_BYTES(
        BT_DATA_GAP_APPEARANCE,
        (CONFIG_BT_DEVICE_APPEARANCE >> 0) & 0xff,
        (CONFIG_BT_DEVICE_APPEARANCE >> 8) & 0xff
    ),
    BT_DATA_BYTES(
        BT_DATA_FLAGS,
        (BT_LE_AD_GENERAL | BT_LE_AD_NO_BREDR)
    ),
    BT_DATA_BYTES(
        BT_DATA_UUID16_ALL,
        BT_UUID_16_ENCODE(BT_UUID_HIDS_VAL),
        BT_UUID_16_ENCODE(BT_UUID_BAS_VAL)
    ),
};

static const struct bt_data sd[] = {
    BT_DATA(BT_DATA_NAME_COMPLETE, DEVICE_NAME, DEVICE_NAME_LEN),
};

static struct conn_mode {
    struct bt_conn *conn;
    bool in_boot_mode;
} conn_mode;

static struct keyboard_state {
    uint8_t ctrl_keys_state;
    uint8_t keys_state[KEY_PRESS_MAX];
} hid_keyboard_state;


void advertising_start(void)
{
    int err;
    struct bt_le_adv_param *adv_param = BT_LE_ADV_PARAM(
        (BT_LE_ADV_OPT_CONNECTABLE | BT_LE_ADV_OPT_ONE_TIME),
        BT_GAP_ADV_FAST_INT_MIN_2,
        BT_GAP_ADV_FAST_INT_MAX_2,
        NULL
    );

    err = bt_le_adv_start(adv_param, ad, ARRAY_SIZE(ad), sd, ARRAY_SIZE(sd));
    if (err) {
        if (err == -EALREADY) {
            LOG_WRN("Advertising continued\n");
        } else {
            LOG_ERR("Advertising failed to start (err %d)\n", err);
        }
        return;
    }
    is_adv = true;
    LOG_INF("Advertising successfully started\n");
}


bool is_advertising(void)
{
    return is_adv;
}


static void connected(struct bt_conn *conn, uint8_t err)
{
    char addr[BT_ADDR_LE_STR_LEN];
    bt_addr_le_to_str(bt_conn_get_dst(conn), addr, sizeof(addr));

    if (err) {
        LOG_ERR("Failed to connect to %s (%u)\n", addr, err);
        if (connection_changed_cb) {
            connection_changed_cb(0);
        }
        return;
    }

    LOG_INF("Connected %s\n", addr);

    err = bt_hids_connected(&hids_obj, conn);

    if (err) {
        LOG_ERR("Failed to notify HID service about connection\n");
        if (connection_changed_cb) {
            connection_changed_cb(0);
        }
        return;
    }

    if (!conn_mode.conn) {
        conn_mode.conn = conn;
        conn_mode.in_boot_mode = false;
    }

    is_adv = false;
    if (connection_changed_cb) {
        connection_changed_cb(1);
    }
}


static void disconnected(struct bt_conn *conn, uint8_t reason)
{
    int err;

    char addr[BT_ADDR_LE_STR_LEN];
    bt_addr_le_to_str(bt_conn_get_dst(conn), addr, sizeof(addr));

    LOG_INF("Disconnected from %s (reason %u)\n", addr, reason);

    err = bt_hids_disconnected(&hids_obj, conn);
    if (err) {
        LOG_ERR("Failed to notify HID service about disconnection\n");
        if (connection_changed_cb) {
            connection_changed_cb(0);
        }
    }

    if (conn_mode.conn) {
        conn_mode.conn = NULL;
    }

    advertising_start();
    if (connection_changed_cb) {
        connection_changed_cb(0);
    }
}


static void security_changed(struct bt_conn *conn, bt_security_t level, enum bt_security_err err)
{
    char addr[BT_ADDR_LE_STR_LEN];
    bt_addr_le_to_str(bt_conn_get_dst(conn), addr, sizeof(addr));

    if (!err) {
        LOG_INF("Security changed: %s level %u\n", addr, level);
    } else {
        LOG_ERR("Security failed: %s level %u err %d\n", addr, level, err);
    }
}


BT_CONN_CB_DEFINE(conn_callbacks) = {
    .connected = connected,
    .disconnected = disconnected,
    .security_changed = security_changed,
};


static void hids_outp_rep_handler(struct bt_hids_rep *rep, struct bt_conn *conn, bool write)
{
    char addr[BT_ADDR_LE_STR_LEN];
    bt_addr_le_to_str(bt_conn_get_dst(conn), addr, sizeof(addr));

    if (!write) {
        LOG_INF("Output report read\n");
        return;
    };

    LOG_INF("Output report has been received %s\n", addr);
}


static void hids_boot_kb_outp_rep_handler(struct bt_hids_rep *rep, struct bt_conn *conn, bool write)
{
    char addr[BT_ADDR_LE_STR_LEN];
    bt_addr_le_to_str(bt_conn_get_dst(conn), addr, sizeof(addr));

    if (!write) {
        LOG_INF("Output report read\n");
        return;
    };

    LOG_INF("Boot Keyboard Output report has been received %s\n", addr);
}


static void hids_pm_evt_handler(enum bt_hids_pm_evt evt, struct bt_conn *conn)
{
    char addr[BT_ADDR_LE_STR_LEN];
    bt_addr_le_to_str(bt_conn_get_dst(conn), addr, sizeof(addr));

    switch (evt) {
    case BT_HIDS_PM_EVT_BOOT_MODE_ENTERED:
        LOG_INF("Boot mode entered %s\n", addr);
        conn_mode.in_boot_mode = true;
        break;

    case BT_HIDS_PM_EVT_REPORT_MODE_ENTERED:
        LOG_INF("Report mode entered %s\n", addr);
        conn_mode.in_boot_mode = false;
        break;

    default:
        break;
    }
}


void hid_init(hid_connection_changed_t cb)
{
    int err;

    connection_changed_cb = cb;

    struct bt_hids_init_param    hids_init_obj = { 0 };
    struct bt_hids_inp_rep       *hids_inp_rep;
    struct bt_hids_outp_feat_rep *hids_outp_rep;

    static const uint8_t report_map[] = {
        0x05, 0x01,       /* Usage Page (Generic Desktop) */
        0x09, 0x06,       /* Usage (Keyboard) */
        0xa1, 0x01,       /* Collection (Application) */

        /* Keys */
#if INPUT_REP_KEYS_REF_ID
        0x85, INPUT_REP_KEYS_REF_ID,
#endif
        0x05, 0x07,       /* Usage Page (Key Codes) */
        0x19, 0xe0,       /* Usage Minimum (224) */
        0x29, 0xe7,       /* Usage Maximum (231) */
        0x15, 0x00,       /* Logical Minimum (0) */
        0x25, 0x01,       /* Logical Maximum (1) */
        0x75, 0x01,       /* Report Size (1) */
        0x95, 0x08,       /* Report Count (8) */
        0x81, 0x02,       /* Input (Data, Variable, Absolute) */

        0x95, 0x01,       /* Report Count (1) */
        0x75, 0x08,       /* Report Size (8) */
        0x81, 0x01,       /* Input (Constant) reserved byte(1) */

        0x95, 0x06,       /* Report Count (6) */
        0x75, 0x08,       /* Report Size (8) */
        0x15, 0x00,       /* Logical Minimum (0) */
        0x25, 0x65,       /* Logical Maximum (101) */
        0x05, 0x07,       /* Usage Page (Key codes) */
        0x19, 0x00,       /* Usage Minimum (0) */
        0x29, 0x65,       /* Usage Maximum (101) */
        0x81, 0x00,       /* Input (Data, Array) Key array(6 bytes) */

        /* LED */
#if OUTPUT_REP_KEYS_REF_ID
        0x85, OUTPUT_REP_KEYS_REF_ID,
#endif
        0x95, 0x05,       /* Report Count (5) */
        0x75, 0x01,       /* Report Size (1) */
        0x05, 0x08,       /* Usage Page (Page# for LEDs) */
        0x19, 0x01,       /* Usage Minimum (1) */
        0x29, 0x05,       /* Usage Maximum (5) */
        0x91, 0x02,       /* Output (Data, Variable, Absolute), */
        0x95, 0x01,       /* Report Count (1) */
        0x75, 0x03,       /* Report Size (3) */
        0x91, 0x01,       /* Output (Data, Variable, Absolute), */

        0xC0              /* End Collection (Application) */
    };

    hids_init_obj.rep_map.data = report_map;
    hids_init_obj.rep_map.size = sizeof(report_map);

    hids_init_obj.info.bcd_hid = BASE_USB_HID_SPEC_VERSION;
    hids_init_obj.info.b_country_code = 0x00;
    hids_init_obj.info.flags = (BT_HIDS_REMOTE_WAKE | BT_HIDS_NORMALLY_CONNECTABLE);

    hids_inp_rep = &hids_init_obj.inp_rep_group_init.reports[INPUT_REP_KEYS_IDX];
    hids_inp_rep->size = INPUT_REPORT_KEYS_MAX_LEN;
    hids_inp_rep->id = INPUT_REP_KEYS_REF_ID;
    hids_init_obj.inp_rep_group_init.cnt++;

    hids_outp_rep = &hids_init_obj.outp_rep_group_init.reports[OUTPUT_REP_KEYS_IDX];
    hids_outp_rep->size = OUTPUT_REPORT_MAX_LEN;
    hids_outp_rep->id = OUTPUT_REP_KEYS_REF_ID;
    hids_outp_rep->handler = hids_outp_rep_handler;
    hids_init_obj.outp_rep_group_init.cnt++;

    hids_init_obj.is_kb = true;
    hids_init_obj.boot_kb_outp_rep_handler = hids_boot_kb_outp_rep_handler;
    hids_init_obj.pm_evt_handler = hids_pm_evt_handler;

    err = bt_hids_init(&hids_obj, &hids_init_obj);
    __ASSERT(err == 0, "HIDS initialization failed\n");
}


static int key_report_con_send(const struct keyboard_state *state, bool boot_mode, struct bt_conn *conn)
{
    int err = 0;
    uint8_t  data[INPUT_REPORT_KEYS_MAX_LEN];
    uint8_t *key_data;
    const uint8_t *key_state;
    size_t n;

    data[0] = state->ctrl_keys_state;
    data[1] = 0;
    key_data = &data[2];
    key_state = state->keys_state;

    for (n = 0; n < KEY_PRESS_MAX; ++n) {
        *key_data++ = *key_state++;
    }
    if (boot_mode) {
        err = bt_hids_boot_kb_inp_rep_send(&hids_obj, conn, data, sizeof(data), NULL);
    } else {
        err = bt_hids_inp_rep_send(&hids_obj, conn, INPUT_REP_KEYS_IDX, data, sizeof(data), NULL);
    }
    return err;
}


static int key_report_send(void)
{
    if (conn_mode.conn) {
        int err;

        err = key_report_con_send(&hid_keyboard_state, conn_mode.in_boot_mode, conn_mode.conn);
        if (err) {
            LOG_ERR("Key report send error: %d\n", err);
            return err;
        }
    }
    return 0;
}


static uint8_t button_ctrl_code(uint8_t key)
{
    if (KEY_CTRL_CODE_MIN <= key && key <= KEY_CTRL_CODE_MAX) {
        return (uint8_t)(1U << (key - KEY_CTRL_CODE_MIN));
    }
    return 0;
}


static int hid_kbd_state_key_set(uint8_t key)
{
    uint8_t ctrl_mask = button_ctrl_code(key);

    if (ctrl_mask) {
        hid_keyboard_state.ctrl_keys_state |= ctrl_mask;
        return 0;
    }
    for (size_t i = 0; i < KEY_PRESS_MAX; ++i) {
        if (hid_keyboard_state.keys_state[i] == 0) {
            hid_keyboard_state.keys_state[i] = key;
            return 0;
        }
    }
    /* All slots busy */
    return -EBUSY;
}


static int hid_kbd_state_key_clear(uint8_t key)
{
    uint8_t ctrl_mask = button_ctrl_code(key);

    if (ctrl_mask) {
        hid_keyboard_state.ctrl_keys_state &= ~ctrl_mask;
        return 0;
    }
    for (size_t i = 0; i < KEY_PRESS_MAX; ++i) {
        if (hid_keyboard_state.keys_state[i] == key) {
            hid_keyboard_state.keys_state[i] = 0;
            return 0;
        }
    }
    /* Key not found */
    return -EINVAL;
}


int hid_key_changed(uint8_t button_mask)
{
    if (button_mask & (uint8_t)(1U << 0)) {
        hid_kbd_state_key_set(KEY_CODE_SW0);
    } else {
        hid_kbd_state_key_clear(KEY_CODE_SW0);
    }

    if (button_mask & (uint8_t)(1U << 1)) {
        hid_kbd_state_key_set(KEY_CODE_SW1);
    } else {
        hid_kbd_state_key_clear(KEY_CODE_SW1);
    }

    return key_report_send();
}
```

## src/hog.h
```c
#pragma once

#include <zephyr/types.h>

#include <assert.h>


#define DEVICE_NAME     CONFIG_BT_DEVICE_NAME
#define DEVICE_NAME_LEN (sizeof(DEVICE_NAME) - 1)

#define BASE_USB_HID_SPEC_VERSION 0x0101

#define OUTPUT_REPORT_MAX_LEN  1
#define INPUT_REP_KEYS_REF_ID  0
#define OUTPUT_REP_KEYS_REF_ID 0
#define MODIFIER_KEY_POS       0
#define SCAN_CODE_POS          2
#define KEYS_MAX_LEN           (INPUT_REPORT_KEYS_MAX_LEN - SCAN_CODE_POS)

/* ********************* */
/* Buttons configuration */
/* Note: The configuration below is the same as BOOT mode configuration
 * This simplifies the code as the BOOT mode is the same as REPORT mode.
 * Changing this configuration would require separate implementation of
 * BOOT mode report generation.
 */
#define KEY_CTRL_CODE_MIN 224 // Control key codes - required 8 of them
#define KEY_CTRL_CODE_MAX 231 // Control key codes - required 8 of them
#define KEY_CODE_MIN      0   // Normal key codes
#define KEY_CODE_MAX      101 // Normal key codes
#define KEY_PRESS_MAX     6   // Maximum number of non-control keys pressed simultaneously

#define KEY_A        0x04 // Keyboard a and A
#define KEY_B        0x05 // Keyboard b and B
#define KEY_PAGEUP   0x4b // Keyboard Page Up
#define KEY_PAGEDOWN 0x4e // Keyboard Page Down
#define KEY_RIGHT    0x4f // Keyboard Right Arrow
#define KEY_LEFT     0x50 // Keyboard Left Arrow
#define KEY_DOWN     0x51 // Keyboard Down Arrow
#define KEY_UP       0x52 // Keyboard Up Arrow

#define KEY_CODE_SW0 KEY_LEFT
#define KEY_CODE_SW1 KEY_RIGHT

/* Number of bytes in key report
 *
 * 1B - control keys
 * 1B - reserved
 * rest - non-control keys
 */
#define INPUT_REPORT_KEYS_MAX_LEN (1 + 1 + KEY_PRESS_MAX)

/* Current report map construction requires exactly 8 buttons */
BUILD_ASSERT((KEY_CTRL_CODE_MAX - KEY_CTRL_CODE_MIN) + 1 == 8);

/* OUT report internal indexes.
 *
 * This is a position in internal report table and is not related to
 * report ID.
 */
enum {
    OUTPUT_REP_KEYS_IDX = 0
};

/* INPUT report internal indexes.
 *
 * This is a position in internal report table and is not related to
 * report ID.
 */
enum {
    INPUT_REP_KEYS_IDX = 0
};

typedef void (*hid_connection_changed_t)(uint8_t state);

void hid_init(hid_connection_changed_t cb);
int hid_key_changed(uint8_t button_mask);

void advertising_start(void);
bool is_advertising();
```
